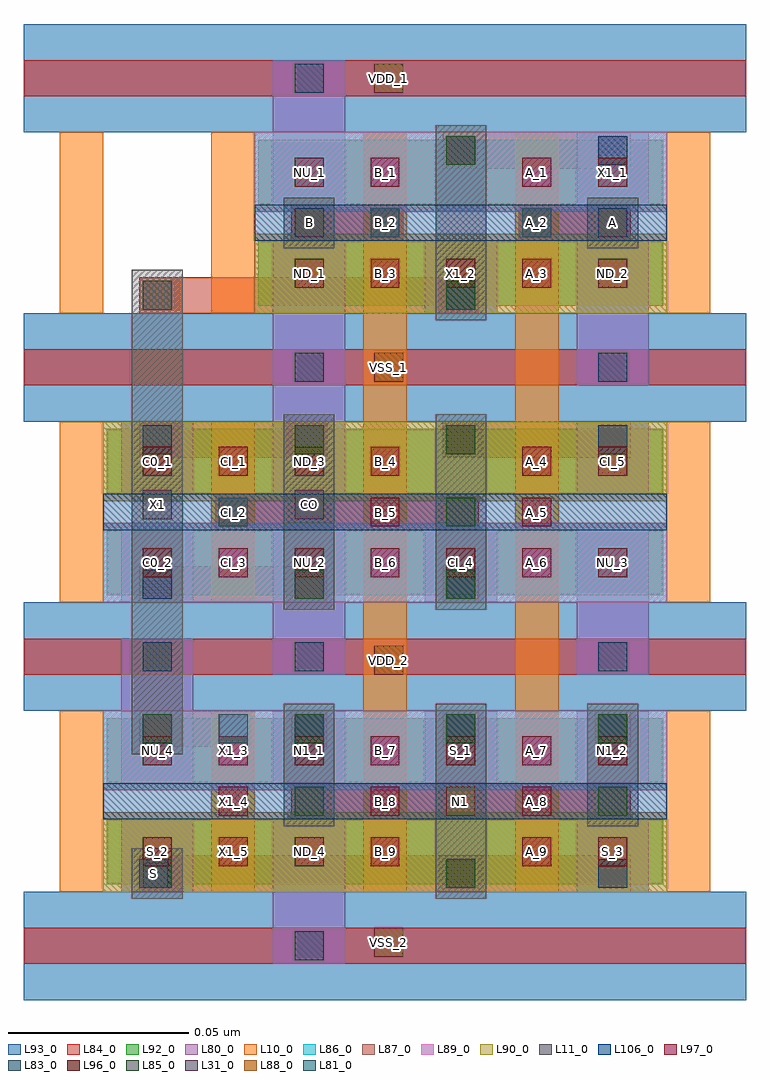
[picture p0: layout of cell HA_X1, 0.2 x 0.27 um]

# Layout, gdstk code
import gdstk
lib = gdstk.Library(unit=1e-6, precision=1e-09)
def R(c, l, rs):  # rectangles x0, y0, x1, y1
    for r in rs: c.add(gdstk.rectangle(r[:2], r[2:], *l))
def A(c, l, x, y, w, h, nx, ny, dx, dy):  # array of equal rectangles
    R(c, l, [(x+i*dx, y+j*dy, x+i*dx+w, y+j*dy+h) for i in range(nx) for j in range(ny)])
L10_0 = (10, 0)
L11_0 = (11, 0)
L31_0 = (31, 0)
L80_0 = (80, 0)
L81_0 = (81, 0)
L83_0 = (83, 0)
L84_0 = (84, 0)
L85_0 = (85, 0)
L86_0 = (86, 0)
L87_0 = (87, 0)
L88_0 = (88, 0)
L89_0 = (89, 0)
L90_0 = (90, 0)
L92_0 = (92, 0)
L93_0 = (93, 0)
L96_0 = (96, 0)
L97_0 = (97, 0)
L106_0 = (106, 0)

ha_x1 = lib.new_cell('HA_X1')
A(ha_x1, L10_0, -0.027, -0.145, 0.012, 0.05, 1, 3, 0, 0.08)
A(ha_x1, L10_0, 0.015, -0.145, 0.012, 0.05, 1, 3, 0, 0.08)
A(ha_x1, L10_0, 0.141, -0.145, 0.012, 0.05, 1, 3, 0, 0.08)
R(ha_x1, L10_0, [(0.057,-0.145,0.069,0.065), (0.099,-0.145,0.111,0.065)])
A(ha_x1, L11_0, 0.035, -0.127, 0.014, 0.034, 3, 1, 0.042, 0)
A(ha_x1, L11_0, -0.007, -0.067, 0.014, 0.034, 3, 2, 0.042, 0.02)
R(ha_x1, L11_0, [(-0.007,-0.147,0.007,-0.133), (0.077,-0.147,0.091,-0.113), (-0.007,-0.107,0.007,-0.073), (-0.007,-0.087,0.007,-0.053), (-0.007,-0.027,0.007,0.007), (-0.007,-0.007,0.007,0.027), (0.077,0.013,0.091,0.047), (0.035,0.033,0.049,0.047), (0.077,0.033,0.091,0.067), (0.119,0.033,0.133,0.047)])
R(ha_x1, L31_0, [(-0.005,-0.144,0.003,-0.136), (-0.004,-0.042,0.004,-0.034), (0.038,-0.042,0.046,-0.034), (0.038,0.036,0.046,0.044), (0.122,0.036,0.13,0.044)])
A(ha_x1, L80_0, 0.032, -0.165, 0.02, 0.021, 1, 3, 0, 0.08)
A(ha_x1, L80_0, -0.01, -0.065, 0.02, 0.02, 4, 1, 0.042, 0)
A(ha_x1, L80_0, 0.032, 0.015, 0.02, 0.02, 3, 1, 0.042, 0)
R(ha_x1, L80_0, [(-0.01,-0.145,0.01,-0.125), (0.032,-0.145,0.052,-0.125), (0.116,-0.145,0.136,-0.125), (-0.01,-0.115,0.01,-0.095), (-0.01,-0.115,0.01,-0.095), (0.032,-0.115,0.052,-0.095), (0.032,-0.115,0.052,-0.095), (0.074,-0.115,0.094,-0.095), (0.074,-0.115,0.094,-0.095), (0.116,-0.115,0.136,-0.095), (0.116,-0.115,0.136,-0.095), (-0.01,-0.104,0.01,-0.075), (0.116,-0.085,0.136,-0.064), (-0.01,-0.035,0.01,-0.015), (-0.01,-0.035,0.01,-0.015), (0.032,-0.035,0.052,-0.015), (0.032,-0.035,0.052,-0.015), (0.116,-0.035,0.136,-0.015), (0.116,-0.035,0.136,-0.015), (0.032,-0.024,0.052,0.005), (0.116,-0.005,0.136,0.016), (0.032,0.045,0.052,0.065), (0.032,0.045,0.052,0.065), (0.116,0.045,0.136,0.065), (0.116,0.045,0.136,0.065), (0.032,0.056,0.052,0.085)])
R(ha_x1, L81_0, [(0.017,-0.104,0.025,-0.096), (0.017,-0.044,0.025,-0.036), (0.059,0.036,0.067,0.044), (0.101,0.036,0.109,0.044)])
A(ha_x1, L83_0, 0.038, -0.164, 0.008, 0.008, 1, 3, 0, 0.08)
A(ha_x1, L83_0, 0.122, -0.144, 0.008, 0.008, 1, 3, 0, 0.06)
A(ha_x1, L83_0, 0.038, -0.104, 0.008, 0.008, 3, 1, 0.042, 0)
R(ha_x1, L83_0, [(-0.004,-0.144,0.004,-0.136), (-0.004,-0.084,0.004,-0.076), (-0.004,-0.064,0.004,-0.056), (0.08,-0.064,0.088,-0.056), (-0.004,-0.024,0.004,-0.016), (0.038,-0.004,0.046,0.004), (0.122,-0.004,0.13,0.004), (0.08,0.016,0.088,0.024), (0.122,0.056,0.13,0.064), (0.038,0.076,0.046,0.084)])
A(ha_x1, L84_0, -0.037, -0.165, 0.2, 0.01, 1, 4, 0, 0.08)
A(ha_x1, L84_0, -0.005, -0.145, 0.031, 0.01, 6, 1, 0.021, 0)
A(ha_x1, L84_0, 0.037, -0.125, 0.031, 0.01, 4, 1, 0.021, 0)
A(ha_x1, L84_0, -0.005, -0.105, 0.031, 0.01, 1, 3, 0, 0.04)
A(ha_x1, L84_0, 0.037, -0.105, 0.01, 0.01, 3, 1, 0.042, 0)
A(ha_x1, L84_0, 0.016, -0.045, 0.031, 0.01, 3, 1, 0.021, 0)
A(ha_x1, L84_0, -0.005, 0.015, 0.031, 0.01, 4, 1, 0.021, 0)
R(ha_x1, L84_0, [(0.016,-0.065,0.047,-0.055), (0.079,-0.065,0.089,-0.055), (0.016,-0.025,0.047,-0.015), (0.079,-0.025,0.11,-0.015), (0.1,-0.025,0.131,-0.015), (0.037,0.035,0.068,0.045), (0.1,0.035,0.131,0.045), (0.079,0.055,0.11,0.065), (0.1,0.055,0.131,0.065)])
A(ha_x1, L85_0, -0.004, -0.104, 0.008, 0.008, 4, 1, 0.042, 0)
A(ha_x1, L85_0, 0.08, -0.064, 0.008, 0.008, 1, 3, 0, 0.02)
R(ha_x1, L85_0, [(-0.004,-0.144,0.004,-0.136), (0.08,-0.144,0.088,-0.136), (0.038,-0.124,0.046,-0.116), (0.122,-0.124,0.13,-0.116), (0.038,-0.064,0.046,-0.056), (0.038,-0.024,0.046,-0.016), (-0.004,0.016,0.004,0.024), (0.08,0.016,0.088,0.024), (0.038,0.036,0.046,0.044), (0.122,0.036,0.13,0.044), (0.08,0.056,0.088,0.064)])
R(ha_x1, L86_0, [(-0.015,-0.117,0.141,-0.095), (-0.015,-0.065,0.141,-0.043), (0.027,0.043,0.141,0.065)])
R(ha_x1, L87_0, [(-0.015,-0.145,0.141,-0.123), (-0.015,-0.037,0.141,-0.015), (0.027,0.015,0.141,0.037)])
R(ha_x1, L88_0, [(0.06,-0.163,0.068,-0.155), (0.08,-0.124,0.088,-0.116), (0.06,-0.085,0.068,-0.077), (0.06,-0.004,0.068,0.004), (0.06,0.076,0.068,0.084)])
R(ha_x1, L89_0, [(-0.015,-0.117,0.141,-0.095), (-0.015,-0.065,0.141,-0.043), (0.027,0.043,0.141,0.065)])
R(ha_x1, L90_0, [(-0.015,-0.145,0.141,-0.123), (-0.015,-0.037,0.141,-0.015), (0.027,0.015,0.141,0.037)])
R(ha_x1, L92_0, [(-0.014,-0.143,0.14,-0.125), (-0.014,-0.115,0.14,-0.097), (-0.014,-0.063,0.14,-0.045), (-0.014,-0.035,0.14,-0.017), (0.028,0.017,0.14,0.035), (0.028,0.045,0.14,0.063)])
A(ha_x1, L93_0, -0.037, -0.175, 0.2, 0.03, 1, 4, 0, 0.08)
A(ha_x1, L96_0, -0.004, -0.11, 0.008, 0.008, 4, 2, 0.042, 0.052)
A(ha_x1, L96_0, 0.038, 0.022, 0.008, 0.008, 3, 1, 0.042, 0)
R(ha_x1, L96_0, [(-0.004,-0.138,0.004,-0.13), (0.038,-0.138,0.046,-0.13), (0.122,-0.138,0.13,-0.13), (-0.004,-0.03,0.004,-0.022), (0.038,-0.03,0.046,-0.022), (0.122,-0.03,0.13,-0.022), (0.038,0.05,0.046,0.058), (0.122,0.05,0.13,0.058)])
A(ha_x1, L97_0, 0.017, -0.138, 0.008, 0.008, 3, 3, 0.042, 0.014)
A(ha_x1, L97_0, 0.017, -0.058, 0.008, 0.008, 3, 3, 0.042, 0.014)
A(ha_x1, L97_0, 0.059, 0.022, 0.008, 0.008, 1, 3, 0, 0.014)
A(ha_x1, L97_0, 0.101, 0.022, 0.008, 0.008, 1, 3, 0, 0.014)
R(ha_x1, L106_0, [(-0.015,-0.125,0.141,-0.115), (-0.015,-0.045,0.141,-0.035), (0.027,0.035,0.141,0.045)])
ha_x1.add(gdstk.Label('X1', (0,-0.038), layer=31, texttype=0))
ha_x1.add(gdstk.Label('S', (-0.001,-0.14), layer=31, texttype=0))
ha_x1.add(gdstk.Label('CO', (0.042,-0.038), layer=31, texttype=0))
ha_x1.add(gdstk.Label('B', (0.042,0.04), layer=31, texttype=0))
ha_x1.add(gdstk.Label('A', (0.126,0.04), layer=31, texttype=0))
ha_x1.add(gdstk.Label('N1', (0.084,-0.12), layer=88, texttype=0))
ha_x1.add(gdstk.Label('VSS_2', (0.064,-0.159), layer=88, texttype=0))
ha_x1.add(gdstk.Label('VSS_1', (0.064,0), layer=88, texttype=0))
ha_x1.add(gdstk.Label('VDD_2', (0.064,-0.081), layer=88, texttype=0))
ha_x1.add(gdstk.Label('VDD_1', (0.064,0.08), layer=88, texttype=0))
ha_x1.add(gdstk.Label('S_3', (0.126,-0.134), layer=96, texttype=0))
ha_x1.add(gdstk.Label('N1_2', (0.126,-0.106), layer=96, texttype=0))
ha_x1.add(gdstk.Label('S_1', (0.084,-0.106), layer=96, texttype=0))
ha_x1.add(gdstk.Label('N1_1', (0.042,-0.106), layer=96, texttype=0))
ha_x1.add(gdstk.Label('ND_4', (0.042,-0.134), layer=96, texttype=0))
ha_x1.add(gdstk.Label('S_2', (0,-0.134), layer=96, texttype=0))
ha_x1.add(gdstk.Label('NU_4', (0,-0.106), layer=96, texttype=0))
ha_x1.add(gdstk.Label('C0_2', (0,-0.054), layer=96, texttype=0))
ha_x1.add(gdstk.Label('C0_1', (0,-0.026), layer=96, texttype=0))
ha_x1.add(gdstk.Label('ND_3', (0.042,-0.026), layer=96, texttype=0))
ha_x1.add(gdstk.Label('NU_2', (0.042,-0.054), layer=96, texttype=0))
ha_x1.add(gdstk.Label('CI_4', (0.084,-0.054), layer=96, texttype=0))
ha_x1.add(gdstk.Label('NU_3', (0.126,-0.054), layer=96, texttype=0))
ha_x1.add(gdstk.Label('CI_5', (0.126,-0.026), layer=96, texttype=0))
ha_x1.add(gdstk.Label('ND_2', (0.126,0.026), layer=96, texttype=0))
ha_x1.add(gdstk.Label('X1_1', (0.126,0.054), layer=96, texttype=0))
ha_x1.add(gdstk.Label('X1_2', (0.084,0.026), layer=96, texttype=0))
ha_x1.add(gdstk.Label('NU_1', (0.042,0.054), layer=96, texttype=0))
ha_x1.add(gdstk.Label('ND_1', (0.042,0.026), layer=96, texttype=0))
ha_x1.add(gdstk.Label('A_9', (0.105,-0.134), layer=97, texttype=0))
ha_x1.add(gdstk.Label('A_7', (0.105,-0.106), layer=97, texttype=0))
ha_x1.add(gdstk.Label('A_8', (0.105,-0.12), layer=97, texttype=0))
ha_x1.add(gdstk.Label('B_7', (0.063,-0.106), layer=97, texttype=0))
ha_x1.add(gdstk.Label('B_9', (0.063,-0.134), layer=97, texttype=0))
ha_x1.add(gdstk.Label('B_8', (0.063,-0.12), layer=97, texttype=0))
ha_x1.add(gdstk.Label('X1_4', (0.021,-0.12), layer=97, texttype=0))
ha_x1.add(gdstk.Label('X1_3', (0.021,-0.106), layer=97, texttype=0))
ha_x1.add(gdstk.Label('X1_5', (0.021,-0.134), layer=97, texttype=0))
ha_x1.add(gdstk.Label('CI_2', (0.021,-0.04), layer=97, texttype=0))
ha_x1.add(gdstk.Label('CI_3', (0.021,-0.054), layer=97, texttype=0))
ha_x1.add(gdstk.Label('CI_1', (0.021,-0.026), layer=97, texttype=0))
ha_x1.add(gdstk.Label('A_6', (0.105,-0.054), layer=97, texttype=0))
ha_x1.add(gdstk.Label('A_4', (0.105,-0.026), layer=97, texttype=0))
ha_x1.add(gdstk.Label('A_5', (0.105,-0.04), layer=97, texttype=0))
ha_x1.add(gdstk.Label('B_4', (0.063,-0.026), layer=97, texttype=0))
ha_x1.add(gdstk.Label('B_6', (0.063,-0.054), layer=97, texttype=0))
ha_x1.add(gdstk.Label('B_5', (0.063,-0.04), layer=97, texttype=0))
ha_x1.add(gdstk.Label('B_2', (0.063,0.04), layer=97, texttype=0))
ha_x1.add(gdstk.Label('B_1', (0.063,0.054), layer=97, texttype=0))
ha_x1.add(gdstk.Label('B_3', (0.063,0.026), layer=97, texttype=0))
ha_x1.add(gdstk.Label('A_3', (0.105,0.026), layer=97, texttype=0))
ha_x1.add(gdstk.Label('A_1', (0.105,0.054), layer=97, texttype=0))
ha_x1.add(gdstk.Label('A_2', (0.105,0.04), layer=97, texttype=0))

lib.write_gds('HA_X1.gds')
